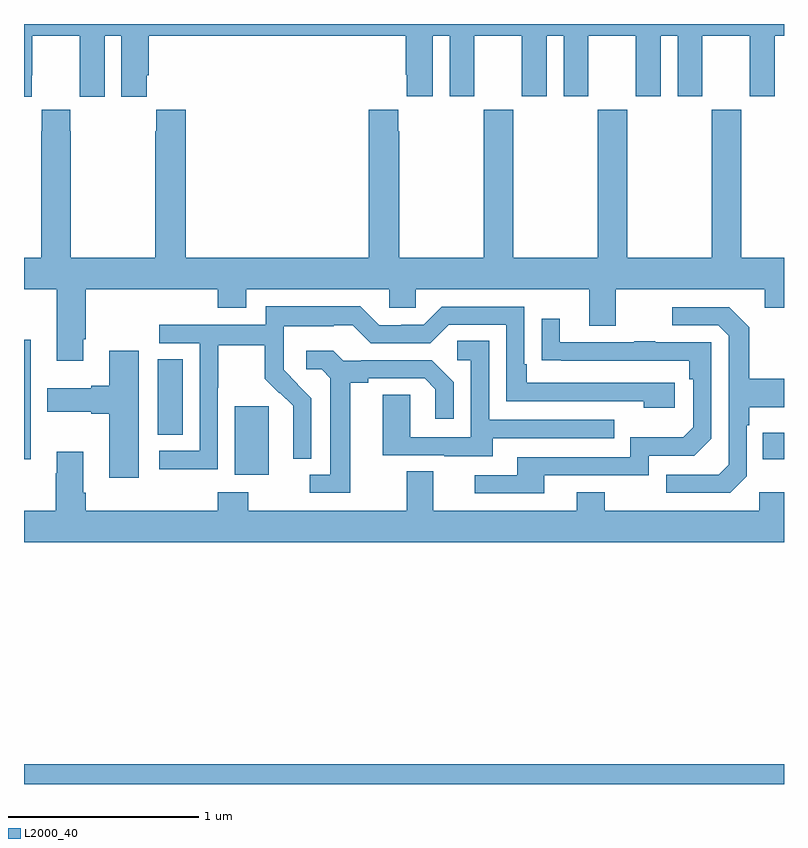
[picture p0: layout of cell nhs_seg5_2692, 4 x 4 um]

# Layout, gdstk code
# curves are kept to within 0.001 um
import gdstk
lib = gdstk.Library(unit=1e-6, precision=1e-09)
def R(c, l, rs):  # rectangles x0, y0, x1, y1
    for r in rs: c.add(gdstk.rectangle(r[:2], r[2:], *l))
def P(c, l, *ps):  # polygons
    for p in ps: c.add(gdstk.Polygon(p, *l))
L2000_40 = (2000, 40)

nhs_seg5_2692 = lib.new_cell('nhs_seg5_2692')
R(nhs_seg5_2692, L2000_40, [(267,876.799,271,876.904), (268.109,878.426,268.288,878.787), (267,878.507,267.036,879.136), (270.889,878.507,271,878.647), (267.704,878.638,267.835,879.035)])
P(nhs_seg5_2692, L2000_40, [(267,880.416),(267.042,880.416),(267.042,880.528),(267.043,880.528),(267.043,880.736),(267.293,880.736),(267.293,880.528),(267.294,880.528),(267.294,880.416),(267.424,880.416),(267.424,880.736),(267.512,880.736),(267.512,880.416),(267.646,880.416),(267.646,880.528),(267.656,880.528),(267.656,880.736),(269.009,880.736),(269.009,880.531),(269.015,880.531),(269.015,880.419),(269.152,880.419),(269.152,880.736),(269.24,880.736),(269.24,880.419),(269.371,880.419),(269.371,880.736),(269.621,880.736),(269.621,880.419),(269.752,880.419),(269.752,880.736),(269.84,880.736),(269.84,880.419),(269.971,880.419),(269.971,880.736),(270.221,880.736),(270.221,880.419),(270.352,880.419),(270.352,880.736),(270.44,880.736),(270.44,880.419),(270.571,880.419),(270.571,880.736),(270.821,880.736),(270.821,880.419),(270.952,880.419),(270.952,880.736),(271,880.736),(271,880.799),(267,880.799)],
  [(270.774,880.348),(270.619,880.348),(270.619,879.568),(270.174,879.568),(270.174,880.348),(270.019,880.348),(270.019,879.568),(269.574,879.568),(269.574,880.348),(269.419,880.348),(269.419,879.568),(268.974,879.568),(268.974,880.235),(268.969,880.235),(268.969,880.348),(268.814,880.348),(268.814,879.568),(267.851,879.568),(267.851,880.348),(267.697,880.348),(267.697,880.235),(267.691,880.235),(267.691,879.568),(267.246,879.568),(267.246,880.235),(267.243,880.235),(267.243,880.348),(267.093,880.348),(267.093,880.235),(267.091,880.235),(267.091,879.568),(267,879.568),(267,879.404),(267.173,879.404),(267.173,879.027),(267.313,879.027),(267.313,879.139),(267.326,879.139),(267.326,879.404),(268.019,879.404),(268.019,879.305),(268.171,879.305),(268.171,879.404),(268.923,879.404),(268.923,879.306),(269.061,879.306),(269.061,879.404),(269.975,879.404),(269.975,879.21),(270.115,879.21),(270.115,879.404),(270.899,879.404),(270.899,879.305),(271,879.305),(271,879.568),(270.774,879.568)],
  [(268.02,878.884),(268.023,878.884),(268.023,879.108),(268.267,879.108),(268.267,878.933),(268.344,878.856),(268.347,878.859),(268.418,878.789),(268.418,878.666),(268.416,878.666),(268.416,878.512),(268.512,878.512),(268.512,878.83),(268.366,878.978),(268.366,879.075),(268.368,879.075),(268.368,879.209),(268.631,879.209),(268.631,879.213),(268.731,879.213),(268.824,879.12),(269.139,879.12),(269.235,879.216),(269.538,879.216),(269.538,878.814),(270.263,878.814),(270.263,878.78),(270.424,878.78),(270.424,878.91),(269.647,878.91),(269.647,879.007),(269.634,879.007),(269.634,879.312),(269.199,879.312),(269.103,879.216),(268.985,879.216),(268.985,879.213),(268.869,879.213),(268.769,879.313),(268.272,879.313),(268.272,879.216),(267.711,879.216),(267.711,879.12),(267.924,879.12),(267.924,878.553),(267.711,878.553),(267.711,878.455),(268.02,878.455)],
  [(270.804,878.418),(270.804,878.687),(270.817,878.687),(270.817,878.783),(271,878.783),(271,878.931),(270.817,878.931),(270.817,879.203),(270.711,879.309),(270.411,879.309),(270.411,879.213),(270.654,879.213),(270.708,879.159),(270.708,878.478),(270.657,878.427),(270.381,878.427),(270.381,878.331),(270.717,878.331)],
  [(269.737,878.424),(270.288,878.424),(270.288,878.526),(270.528,878.526),(270.618,878.616),(270.618,879.123),(270.323,879.123),(270.323,879.128),(270.211,879.128),(270.211,879.123),(269.821,879.123),(269.821,879.247),(269.725,879.247),(269.725,879.028),(270.502,879.027),(270.502,878.93),(270.522,878.93),(270.522,878.676),(270.469,878.623),(270.192,878.623),(270.192,878.52),(269.597,878.52),(269.597,878.424),(269.373,878.424),(269.373,878.328),(269.737,878.328)],
  [(269.467,878.619),(270.107,878.619),(270.107,878.715),(269.448,878.715),(269.448,879.131),(269.28,879.131),(269.28,879.03),(269.352,879.03),(269.352,878.625),(269.034,878.625),(269.034,878.849),(268.889,878.849),(268.889,878.529),(269.213,878.529),(269.213,878.525),(269.467,878.525)],
  [(268.717,878.912),(268.813,878.912),(268.813,878.934),(269.108,878.934),(269.165,878.877),(269.165,878.721),(269.262,878.721),(269.262,878.914),(269.146,879.03),(268.774,879.03),(268.774,879.027),(268.68,879.027),(268.628,879.079),(268.485,879.079),(268.485,878.982),(268.566,878.982),(268.613,878.935),(268.613,878.427),(268.503,878.427),(268.503,878.331),(268.717,878.331)],
  [(267.604,879.079),(267.449,879.079),(267.449,878.894),(267.353,878.894),(267.353,878.881),(267.123,878.881),(267.123,878.759),(267.353,878.759),(267.353,878.747),(267.449,878.747),(267.449,878.412),(267.604,878.412)],
  [(271,878.335),(270.87,878.335),(270.87,878.236),(270.057,878.236),(270.057,878.335),(269.909,878.335),(269.909,878.236),(269.155,878.236),(269.155,878.444),(269.015,878.444),(269.015,878.236),(268.179,878.236),(268.179,878.335),(268.019,878.335),(268.019,878.236),(267.326,878.236),(267.326,878.332),(267.313,878.332),(267.313,878.548),(267.173,878.548),(267.173,878.435),(267.166,878.435),(267.166,878.236),(267,878.236),(267,878.072),(271,878.072)])

lib.write_gds('nhs_seg5_2692.gds')
